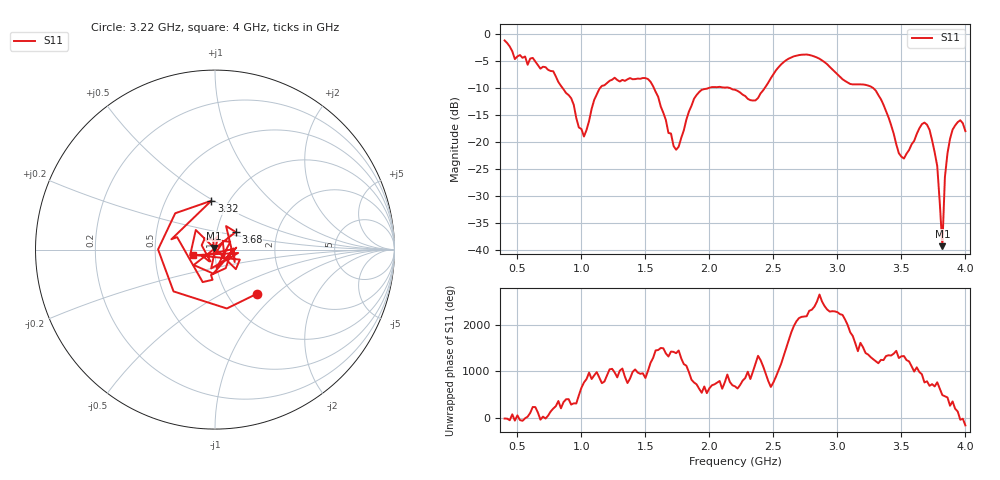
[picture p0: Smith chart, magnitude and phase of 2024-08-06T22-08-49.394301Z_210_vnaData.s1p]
!Created with skrf (http://scikit-rf.org).
# Hz S RI R 50.0
!freq ReS11 ImS11
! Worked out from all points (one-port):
!   181 points, 400 MHz to 4 GHz, reference 50 ohm
!   lowest |S11| = -39.4 dB at 3.82 GHz (marker M1), VSWR 1.02, Z = 49.3 + j0.837 ohm
!   |S11| at or under -10 dB: 853.9 MHz to 1.145 GHz (290.9 MHz wide, 29.1 % of centre); 1.567 GHz to 1.99 GHz (423.3 MHz wide, 23.8 % of centre); 3.281 GHz to end of sweep (the widest 3 of 4)
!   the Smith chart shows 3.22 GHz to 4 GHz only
!   S11 on the Smith chart (normalised r, x): 3.22 GHz: 1.37, -0.76; 3.32 GHz: 0.83, +0.49; 3.68 GHz: 1.23, +0.25; 4 GHz: 0.78, -0.05
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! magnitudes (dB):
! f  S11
! 400 MHz  -1.1
! 480 MHz  -4.6
! 620 MHz  -4.4
! 860 MHz  -10.2
! 1.02 GHz  -19.0
! 1.14 GHz  -10.1
! 1.3 GHz  -8.8
! 1.54 GHz  -8.8
! 1.72 GHz  -20.7
! 1.76 GHz  -20.9
! 1.92 GHz  -10.7
! 2.2 GHz  -10.3
! 2.36 GHz  -12.3
! 2.66 GHz  -4.1
! 2.84 GHz  -4.3
! 3.1 GHz  -9.2
! 3.22 GHz  -9.4
! 3.32 GHz  -11.3
! 3.48 GHz  -22.1
! 3.56 GHz  -21.5
! 3.68 GHz  -16.4
! 3.72 GHz  -17.7
! 3.78 GHz  -24.5
! 3.82 GHz  -39.4
! 3.84 GHz  -26.5
! 3.88 GHz  -19.4
! 3.96 GHz  -16.0
! 4 GHz  -18.0
